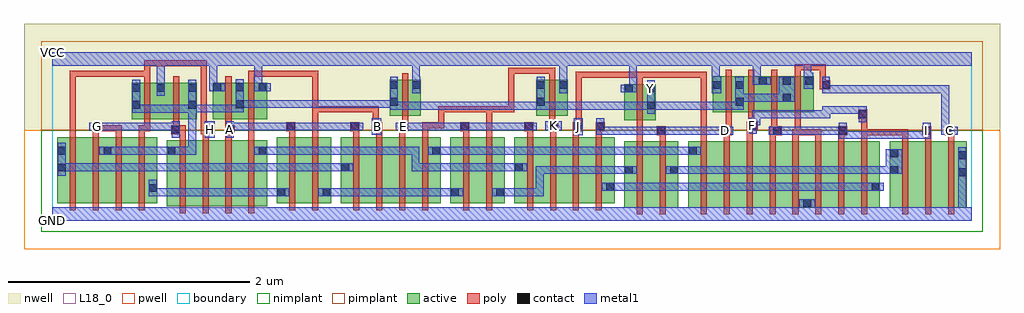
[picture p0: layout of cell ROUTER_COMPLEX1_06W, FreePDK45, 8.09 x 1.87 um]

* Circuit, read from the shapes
.subckt ROUTER_COMPLEX1_06W A B C D E F G GND H I J K VCC Y
M1 n1 H n2 VSUBS nfet w=0.55u l=0.05u
M2 Y G n1 VSUBS nfet w=0.55u l=0.05u
M3 n3 G Y VSUBS nfet w=0.55u l=0.05u
M4 n4 H n3 VSUBS nfet w=0.55u l=0.05u
M5 n5 G Y VSUBS nfet w=0.55u l=0.05u
M6 n6 H n5 VSUBS nfet w=0.55u l=0.05u
M7 n7 A n6 VSUBS nfet w=0.55u l=0.05u
M8 n8 B n7 VSUBS nfet w=0.55u l=0.05u
M9 n9 A n4 VSUBS nfet w=0.55u l=0.05u
M10 n10 B n9 VSUBS nfet w=0.55u l=0.05u
M11 n11 A n2 VSUBS nfet w=0.55u l=0.05u
M12 n12 B n11 VSUBS nfet w=0.55u l=0.05u
M13 n13 E n12 VSUBS nfet w=0.55u l=0.05u
M14 n14 K n13 VSUBS nfet w=0.55u l=0.05u
M15 n15 E n10 VSUBS nfet w=0.55u l=0.05u
M16 n16 K n15 VSUBS nfet w=0.55u l=0.05u
M17 n17 E n8 VSUBS nfet w=0.55u l=0.05u
M18 n18 K n17 VSUBS nfet w=0.55u l=0.05u
M19 n19 J n18 VSUBS nfet w=0.55u l=0.05u
M20 n20 D n19 VSUBS nfet w=0.55u l=0.05u
M21 n21 J n16 VSUBS nfet w=0.55u l=0.05u
M22 n22 D n21 VSUBS nfet w=0.55u l=0.05u
M23 n23 J n14 VSUBS nfet w=0.55u l=0.05u
M24 n24 D n23 VSUBS nfet w=0.55u l=0.05u
M25 n25 F n24 VSUBS nfet w=0.55u l=0.05u
M26 n26 I n25 VSUBS nfet w=0.55u l=0.05u
M27 GND C n26 VSUBS nfet w=0.55u l=0.05u
M28 n27 C GND VSUBS nfet w=0.55u l=0.05u
M29 n28 I n27 VSUBS nfet w=0.55u l=0.05u
M30 n20 F n28 VSUBS nfet w=0.55u l=0.05u
M31 n29 F n22 VSUBS nfet w=0.55u l=0.05u
M32 n30 I n29 VSUBS nfet w=0.55u l=0.05u
M33 GND C n30 VSUBS nfet w=0.55u l=0.05u
M34 VCC H Y n31 pfet w=0.3u l=0.05u
M35 Y G VCC n31 pfet w=0.3u l=0.05u
M36 Y A VCC n31 pfet w=0.3u l=0.05u
M37 VCC B Y n31 pfet w=0.3u l=0.05u
M38 VCC E Y n31 pfet w=0.3u l=0.05u
M39 VCC K Y n31 pfet w=0.3u l=0.05u
M40 Y J VCC n31 pfet w=0.3u l=0.05u
M41 Y D VCC n31 pfet w=0.3u l=0.05u
M42 VCC F Y n31 pfet w=0.3u l=0.05u
M43 Y I VCC n31 pfet w=0.3u l=0.05u
M44 VCC C Y n31 pfet w=0.3u l=0.05u
.ends

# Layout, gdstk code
import gdstk
lib = gdstk.Library(unit=1e-6, precision=1e-09)
def R(c, l, rs):  # rectangles x0, y0, x1, y1
    for r in rs: c.add(gdstk.rectangle(r[:2], r[2:], *l))
def A(c, l, x, y, w, h, nx, ny, dx, dy):  # array of equal rectangles
    R(c, l, [(x+i*dx, y+j*dy, x+i*dx+w, y+j*dy+h) for i in range(nx) for j in range(ny)])
active = (1, 0)
pwell = (2, 0)
nwell = (3, 0)
nimplant = (4, 0)
pimplant = (5, 0)
poly = (9, 0)
contact = (10, 0)
metal1 = (11, 0)
L18_0 = (18, 0)
boundary = (235, 0)

router_complex1_06w = lib.new_cell('ROUTER_COMPLEX1_06W')
A(router_complex1_06w, active, 5.495, 0.11, 0.19, 0.55, 3, 1, 0.19, 0)
R(router_complex1_06w, active, [(4.74,0.11,4.965,0.66), (4.965,0.11,5.19,0.66), (5.27,0.11,5.495,0.66), (6.065,0.11,6.295,0.66), (6.22,0.11,6.445,0.66), (6.22,0.11,6.295,0.527), (6.445,0.11,6.635,0.66), (6.635,0.11,6.86,0.66), (6.94,0.11,7.165,0.66), (7.165,0.11,7.355,0.66), (7.355,0.11,7.58,0.66), (7.505,0.11,7.58,0.66), (0.95,0.12,1.175,0.67), (1.175,0.12,1.365,0.67), (1.365,0.12,1.555,0.67), (1.555,0.12,1.78,0.67), (0.04,0.145,0.265,0.695), (0.04,0.145,0.145,0.695), (0.265,0.145,0.495,0.695), (0.42,0.145,0.645,0.695), (0.42,0.145,0.495,0.642), (0.645,0.145,0.87,0.695), (0.795,0.145,0.87,0.435), (0.95,0.145,1.055,0.67), (1.705,0.145,1.78,0.67), (1.86,0.145,2.085,0.695), (1.86,0.145,1.965,0.435), (2.085,0.145,2.31,0.695), (2.235,0.145,2.31,0.642), (2.39,0.145,2.615,0.695), (2.39,0.145,2.495,0.695), (2.615,0.145,2.805,0.695), (2.805,0.145,2.995,0.695), (2.995,0.145,3.22,0.695), (3.145,0.145,3.22,0.695), (3.3,0.145,3.525,0.695), (3.3,0.145,3.405,0.435), (3.525,0.145,3.75,0.695), (3.675,0.145,3.75,0.642), (3.83,0.145,4.055,0.695), (3.83,0.145,3.935,0.695), (4.055,0.145,4.245,0.695), (4.245,0.145,4.435,0.695), (4.435,0.145,4.66,0.695), (4.585,0.145,4.66,0.642), (4.74,0.145,4.845,0.66), (5.115,0.145,5.19,0.66), (5.27,0.145,5.375,0.66), (6.785,0.145,6.86,0.642), (6.94,0.145,7.045,0.66), (4.74,0.835,5,1.135), (4.925,0.835,5,1.135), (0.657,0.845,0.937,1.145), (0.657,0.845,0.732,1.142), (0.862,0.845,1.197,1.145), (1.122,0.845,1.197,1.145), (1.33,0.845,1.405,1.145), (1.33,0.845,1.59,1.145), (1.515,0.845,1.59,1.145), (1.515,0.845,1.78,1.145), (0.862,0.85,0.937,1.145), (1.705,0.85,1.78,1.145), (4.74,0.85,4.815,1.135), (2.795,0.87,2.87,1.17), (2.795,0.87,3.055,1.17), (4.012,0.87,4.272,1.17), (4.012,0.87,4.087,1.165), (4.197,0.87,4.272,1.17), (5.475,0.9,5.735,1.2), (5.66,0.9,5.925,1.2), (5.85,0.9,6.125,1.2), (6.05,0.9,6.31,1.2), (6.235,0.9,6.31,1.2), (5.66,0.95,5.735,1.165), (2.98,0.952,3.055,1.17), (5.475,0.952,5.55,1.2), (6.05,0.952,6.125,1.2), (5.85,1.007,5.925,1.197)])
R(router_complex1_06w, pwell, [(-0.235,-0.235,7.855,0.75)])
R(router_complex1_06w, nwell, [(-0.235,0.75,7.855,1.635)])
R(router_complex1_06w, nimplant, [(-0.09,-0.09,7.71,0.75)])
R(router_complex1_06w, pimplant, [(-0.09,0.75,7.71,1.49)])
A(router_complex1_06w, poly, 5.375, 0.055, 0.05, 0.66, 8, 1, 0.19, 0)
A(router_complex1_06w, poly, 7.045, 0.055, 0.05, 0.66, 3, 1, 0.19, 0)
A(router_complex1_06w, poly, 1.055, 0.065, 0.05, 0.66, 4, 1, 0.19, 0)
A(router_complex1_06w, poly, 0.145, 0.09, 0.05, 0.66, 4, 1, 0.19, 0)
A(router_complex1_06w, poly, 2.495, 0.09, 0.05, 0.66, 4, 1, 0.19, 0)
A(router_complex1_06w, poly, 3.935, 0.09, 0.05, 0.66, 4, 1, 0.19, 0)
A(router_complex1_06w, poly, 5.945, 0.665, 0.05, 0.095, 5, 1, 0.19, 0)
A(router_complex1_06w, poly, 7.045, 0.665, 0.05, 0.095, 3, 1, 0.19, 0)
A(router_complex1_06w, poly, 1.055, 0.675, 0.05, 0.095, 3, 1, 0.19, 0)
A(router_complex1_06w, poly, 0.335, 0.7, 0.05, 0.095, 3, 1, 0.19, 0)
A(router_complex1_06w, poly, 2.495, 0.7, 0.05, 0.095, 3, 1, 0.19, 0)
A(router_complex1_06w, poly, 3.935, 0.7, 0.05, 0.095, 4, 1, 0.19, 0)
A(router_complex1_06w, poly, 5.58, 0.845, 0.05, 0.41, 3, 1, 0.19, 0)
R(router_complex1_06w, poly, [(4.845,0.055,4.895,0.715), (5.035,0.055,5.085,0.715), (1.965,0.09,2.015,0.75), (2.155,0.09,2.205,0.75), (3.405,0.09,3.455,0.75), (3.595,0.09,3.645,0.75), (4.845,0.665,4.895,0.76), (5.035,0.665,5.085,0.76), (5.375,0.665,5.425,1.235), (5.565,0.665,5.615,0.762), (5.755,0.665,5.805,0.802), (1.625,0.675,1.675,0.795), (0.145,0.7,0.195,1.245), (1.965,0.7,2.015,0.795), (2.155,0.7,2.205,0.952), (3.065,0.7,3.115,0.82), (3.405,0.7,3.455,0.795), (3.595,0.7,3.645,0.952), (4.845,0.71,4.895,0.76), (4.845,0.71,4.895,0.83), (5.01,0.71,5.085,0.785), (5.945,0.71,6.045,0.785), (6.135,0.71,6.205,0.76), (6.155,0.71,6.205,0.76), (6.155,0.71,6.205,0.76), (6.155,0.71,6.205,0.895), (6.155,0.71,6.375,0.76), (6.325,0.71,6.375,0.76), (6.515,0.71,6.59,0.785), (6.705,0.71,6.755,0.76), (6.705,0.71,6.755,0.76), (6.705,0.71,6.755,0.76), (6.705,0.71,7.095,0.76), (6.705,0.71,6.755,0.897), (7.045,0.71,7.095,0.76), (7.045,0.71,7.095,0.76), (7.045,0.71,7.095,0.76), (7.21,0.71,7.285,0.785), (7.4,0.71,7.475,0.785), (5.54,0.712,5.63,0.787), (0.985,0.72,1.105,0.795), (1.23,0.72,1.335,0.795), (1.435,0.72,1.51,0.795), (5.96,0.735,6.01,0.895), (5.58,0.737,5.63,0.895), (0.335,0.745,0.41,0.82), (0.36,0.745,0.547,0.795), (0.497,0.745,0.547,0.795), (0.497,0.745,0.575,0.795), (0.525,0.745,0.575,0.795), (0.715,0.745,0.812,0.795), (0.762,0.745,0.812,0.84), (1.002,0.745,1.052,0.84), (1.23,0.745,1.28,1.332), (1.435,0.745,1.485,0.84), (1.625,0.745,1.675,0.84), (1.625,0.745,1.675,0.795), (1.94,0.745,2.015,0.82), (2.47,0.745,2.545,0.82), (2.655,0.745,2.735,0.82), (2.875,0.745,2.95,0.82), (3.38,0.745,3.455,0.82), (3.91,0.745,3.985,0.82), (4.117,0.745,4.192,0.82), (4.315,0.745,4.39,0.82), (4.505,0.745,4.58,0.82), (5.755,0.752,5.845,0.827), (2.655,0.77,2.705,0.952), (2.9,0.77,2.95,0.865), (3.065,0.77,3.115,0.82), (3.065,0.77,3.115,0.82), (3.065,0.77,3.115,0.82), (3.065,0.77,3.115,0.82), (3.065,0.77,3.115,0.82), (3.065,0.77,3.247,0.82), (3.197,0.77,3.247,0.952), (4.117,0.77,4.167,0.865), (4.34,0.77,4.39,0.82), (4.34,0.77,4.39,0.82), (4.34,0.77,4.39,1.235), (5.77,0.777,5.82,0.895), (4.845,0.78,4.895,1.19), (0.762,0.79,0.812,1.2), (1.002,0.79,1.052,1.2), (1.435,0.79,1.485,1.2), (1.625,0.79,1.675,1.245), (2.9,0.815,2.95,1.225), (4.117,0.815,4.167,1.225), (6.155,0.845,6.205,1.255), (6.68,0.847,6.755,0.922), (6.705,0.847,6.755,0.897), (6.705,0.847,6.755,0.897), (2.155,0.902,2.205,0.952), (2.155,0.902,2.205,0.952), (2.155,0.902,2.205,0.952), (2.155,0.902,2.205,0.952), (2.155,0.902,2.205,0.952), (2.155,0.902,2.205,0.952), (2.155,0.902,2.205,0.952), (2.155,0.902,2.387,0.952), (2.155,0.902,2.205,1.245), (2.337,0.902,2.387,0.952), (2.337,0.902,2.572,0.952), (2.522,0.902,2.572,0.952), (2.522,0.902,2.572,0.952), (2.522,0.902,2.572,0.952), (2.522,0.902,2.705,0.952), (2.655,0.902,2.705,0.952), (2.655,0.902,2.705,0.952), (2.655,0.902,2.705,0.952), (2.655,0.902,2.705,0.952), (2.655,0.902,2.705,0.952), (3.197,0.902,3.247,0.952), (3.197,0.902,3.247,0.952), (3.197,0.902,3.512,0.952), (3.462,0.902,3.512,0.952), (3.462,0.902,3.645,0.952), (3.595,0.902,3.645,0.952), (3.595,0.902,3.645,0.952), (3.595,0.902,3.645,0.952), (3.595,0.902,3.645,0.952), (3.595,0.902,3.645,0.952), (3.595,0.902,3.645,0.952), (3.595,0.902,3.645,0.952), (3.595,0.902,3.645,0.952), (3.595,0.902,3.645,0.952), (3.595,0.902,3.827,0.952), (3.777,0.902,3.827,0.952), (3.777,0.902,3.827,1.27), (6.36,1.09,6.45,1.165), (6.36,1.115,6.41,1.3), (4.845,1.14,4.895,1.235), (0.762,1.15,0.812,1.245), (4.117,1.175,4.167,1.27), (4.34,1.185,4.39,1.235), (4.34,1.185,4.39,1.235), (4.34,1.185,4.39,1.235), (4.34,1.185,4.39,1.235), (4.34,1.185,4.39,1.235), (4.34,1.185,4.39,1.235), (4.34,1.185,4.39,1.235), (4.34,1.185,4.63,1.235), (4.58,1.185,4.63,1.235), (4.58,1.185,4.762,1.235), (4.712,1.185,4.762,1.235), (4.712,1.185,4.762,1.235), (4.712,1.185,4.762,1.235), (4.712,1.185,4.895,1.235), (4.845,1.185,4.895,1.235), (4.845,1.185,4.895,1.235), (4.845,1.185,4.895,1.235), (4.845,1.185,5.157,1.235), (5.107,1.185,5.157,1.235), (5.107,1.185,5.157,1.235), (5.107,1.185,5.157,1.235), (5.107,1.185,5.29,1.235), (5.24,1.185,5.29,1.235), (5.24,1.185,5.29,1.235), (5.24,1.185,5.29,1.235), (5.24,1.185,5.29,1.235), (5.24,1.185,5.29,1.235), (5.24,1.185,5.41,1.235), (5.36,1.185,5.41,1.235), (5.36,1.185,5.41,1.235), (5.36,1.185,5.41,1.235), (5.36,1.185,5.41,1.235), (5.36,1.185,5.425,1.235), (0.145,1.195,0.195,1.245), (0.145,1.195,0.195,1.245), (0.145,1.195,0.195,1.245), (0.145,1.195,0.195,1.245), (0.145,1.195,0.195,1.245), (0.145,1.195,0.195,1.245), (0.145,1.195,0.195,1.245), (0.145,1.195,0.195,1.245), (0.145,1.195,0.195,1.245), (0.145,1.195,0.195,1.245), (0.145,1.195,0.195,1.245), (0.145,1.195,0.327,1.245), (0.277,1.195,0.327,1.245), (0.277,1.195,0.547,1.245), (0.497,1.195,0.547,1.245), (0.497,1.195,0.547,1.245), (0.497,1.195,0.547,1.245), (0.497,1.195,0.68,1.245), (0.63,1.195,0.68,1.245), (0.63,1.195,0.812,1.245), (0.762,1.195,0.812,1.245), (0.762,1.195,0.812,1.245), (0.762,1.195,0.812,1.332), (1.625,1.195,1.675,1.245), (1.625,1.195,1.675,1.245), (1.625,1.195,1.675,1.245), (1.625,1.195,1.675,1.245), (1.625,1.195,1.675,1.245), (1.625,1.195,1.675,1.245), (1.625,1.195,1.675,1.245), (1.625,1.195,2.072,1.245), (2.022,1.195,2.072,1.245), (2.022,1.195,2.072,1.245), (2.022,1.195,2.072,1.245), (2.022,1.195,2.205,1.245), (2.155,1.195,2.205,1.245), (6.155,1.205,6.205,1.3), (3.777,1.22,3.827,1.27), (3.777,1.22,3.827,1.27), (3.777,1.22,3.827,1.27), (3.777,1.22,4.035,1.27), (3.985,1.22,4.035,1.27), (3.985,1.22,4.035,1.27), (3.985,1.22,4.035,1.27), (3.985,1.22,4.167,1.27), (4.117,1.22,4.167,1.27), (6.155,1.25,6.205,1.3), (6.155,1.25,6.205,1.3), (6.155,1.25,6.205,1.3), (6.155,1.25,6.41,1.3), (6.36,1.25,6.41,1.3), (0.762,1.282,1.147,1.332), (1.097,1.282,1.147,1.332), (1.097,1.282,1.147,1.332), (1.097,1.282,1.147,1.332), (1.097,1.282,1.28,1.332), (1.23,1.282,1.28,1.332), (1.23,1.282,1.28,1.332), (1.23,1.282,1.28,1.332), (1.23,1.282,1.28,1.332), (1.23,1.282,1.28,1.332), (1.23,1.282,1.28,1.332), (1.23,1.282,1.28,1.332), (1.23,1.282,1.28,1.332), (1.23,1.282,1.28,1.332)])
R(router_complex1_06w, contact, [(6.225,0.115,6.29,0.18), (1.865,0.205,1.93,0.27), (2.24,0.205,2.305,0.27), (3.305,0.205,3.37,0.27), (3.68,0.205,3.745,0.27), (0.8,0.24,0.865,0.305), (4.59,0.252,4.655,0.317), (6.79,0.252,6.855,0.317), (7.51,0.372,7.575,0.437), (4.745,0.39,4.81,0.455), (5.12,0.39,5.185,0.455), (6.945,0.39,7.01,0.455), (0.045,0.41,0.11,0.475), (2.395,0.412,2.46,0.477), (3.835,0.412,3.9,0.477), (7.51,0.512,7.575,0.577), (6.945,0.53,7.01,0.595), (0.045,0.55,0.11,0.615), (0.425,0.55,0.49,0.615), (0.955,0.55,1.02,0.615), (1.71,0.55,1.775,0.615), (3.15,0.55,3.215,0.615), (5.275,0.55,5.34,0.615), (5.015,0.715,5.08,0.78), (5.975,0.715,6.04,0.78), (6.52,0.715,6.585,0.78), (7.215,0.715,7.28,0.78), (7.405,0.715,7.47,0.78), (5.545,0.717,5.61,0.782), (0.99,0.725,1.055,0.79), (1.265,0.725,1.33,0.79), (1.44,0.725,1.505,0.79), (0.34,0.75,0.405,0.815), (1.945,0.75,2.01,0.815), (2.475,0.75,2.54,0.815), (2.66,0.75,2.725,0.815), (2.88,0.75,2.945,0.815), (3.385,0.75,3.45,0.815), (3.915,0.75,3.98,0.815), (4.122,0.75,4.187,0.815), (4.32,0.75,4.385,0.815), (4.51,0.75,4.575,0.815), (5.775,0.757,5.84,0.822), (6.685,0.852,6.75,0.917), (4.93,0.925,4.995,0.99), (0.662,0.932,0.727,0.997), (1.127,0.932,1.192,0.997), (1.52,0.935,1.585,1), (2.8,0.955,2.865,1.02), (4.017,0.955,4.082,1.02), (5.665,0.955,5.73,1.02), (6.055,0.99,6.12,1.055), (4.745,1.065,4.81,1.13), (4.93,1.065,4.995,1.13), (0.662,1.072,0.727,1.137), (0.867,1.072,0.932,1.137), (1.127,1.072,1.192,1.137), (1.335,1.075,1.4,1.14), (1.52,1.075,1.585,1.14), (1.71,1.075,1.775,1.14), (2.8,1.095,2.865,1.16), (2.985,1.095,3.05,1.16), (4.017,1.095,4.082,1.16), (4.202,1.095,4.267,1.16), (5.48,1.095,5.545,1.16), (5.665,1.095,5.73,1.16), (6.38,1.095,6.445,1.16), (5.855,1.127,5.92,1.192), (6.055,1.13,6.12,1.195), (6.24,1.13,6.305,1.195)])
R(router_complex1_06w, metal1, [(0,0,7.62,0.115), (6.26,0.05,6.325,0.18), (7.51,0.05,7.575,0.402), (6.19,0.115,6.325,0.18), (0.8,0.205,0.865,0.34), (0.8,0.205,1.002,0.27), (0.937,0.205,1.002,0.27), (0.937,0.205,1.002,0.27), (0.937,0.205,1.002,0.27), (0.937,0.205,1.192,0.27), (1.127,0.205,1.192,0.27), (1.127,0.205,1.365,0.27), (1.3,0.205,1.365,0.27), (1.3,0.205,1.365,0.27), (1.3,0.205,1.365,0.27), (1.3,0.205,1.502,0.27), (1.437,0.205,1.502,0.27), (1.437,0.205,1.502,0.27), (1.437,0.205,1.502,0.27), (1.437,0.205,1.722,0.27), (1.657,0.205,1.722,0.27), (1.657,0.205,1.722,0.27), (1.657,0.205,1.722,0.27), (1.657,0.205,1.895,0.27), (1.83,0.205,1.965,0.27), (2.205,0.205,2.34,0.27), (2.275,0.205,2.505,0.27), (2.44,0.205,2.505,0.27), (2.44,0.205,2.505,0.27), (2.44,0.205,2.505,0.27), (2.44,0.205,2.67,0.27), (2.605,0.205,2.67,0.27), (2.605,0.205,2.67,0.27), (2.605,0.205,2.67,0.27), (2.605,0.205,2.807,0.27), (2.742,0.205,2.807,0.27), (2.742,0.205,3.042,0.27), (2.977,0.205,3.042,0.27), (2.977,0.205,3.042,0.27), (2.977,0.205,3.042,0.27), (2.977,0.205,3.18,0.27), (3.115,0.205,3.18,0.27), (3.115,0.205,3.18,0.27), (3.115,0.205,3.18,0.27), (3.115,0.205,3.335,0.27), (3.27,0.205,3.405,0.27), (3.645,0.205,3.78,0.27), (3.715,0.205,3.78,0.27), (3.715,0.205,3.78,0.27), (3.715,0.205,3.917,0.27), (3.852,0.205,3.917,0.27), (3.852,0.205,4.072,0.27), (4.007,0.205,4.072,0.27), (4.007,0.205,4.072,0.455), (4.555,0.252,4.69,0.317), (4.625,0.252,4.857,0.317), (4.792,0.252,4.857,0.317), (4.792,0.252,4.857,0.317), (4.792,0.252,4.857,0.317), (4.792,0.252,4.995,0.317), (4.93,0.252,4.995,0.317), (4.93,0.252,4.995,0.317), (4.93,0.252,4.995,0.317), (4.93,0.252,5.27,0.317), (5.205,0.252,5.27,0.317), (5.205,0.252,5.27,0.317), (5.205,0.252,5.27,0.317), (5.205,0.252,5.437,0.317), (5.372,0.252,5.437,0.317), (5.372,0.252,5.437,0.317), (5.372,0.252,5.437,0.317), (5.372,0.252,5.577,0.317), (5.512,0.252,5.577,0.317), (5.512,0.252,5.577,0.317), (5.512,0.252,5.577,0.317), (5.512,0.252,5.867,0.317), (5.802,0.252,5.867,0.317), (5.802,0.252,5.867,0.317), (5.802,0.252,5.867,0.317), (5.802,0.252,6.07,0.317), (6.005,0.252,6.07,0.317), (6.005,0.252,6.07,0.317), (6.005,0.252,6.07,0.317), (6.005,0.252,6.222,0.317), (6.157,0.252,6.222,0.317), (6.157,0.252,6.222,0.317), (6.157,0.252,6.222,0.317), (6.157,0.252,6.447,0.317), (6.382,0.252,6.447,0.317), (6.382,0.252,6.447,0.317), (6.382,0.252,6.447,0.317), (6.382,0.252,6.585,0.317), (6.52,0.252,6.585,0.317), (6.52,0.252,6.585,0.317), (6.52,0.252,6.585,0.317), (6.52,0.252,6.82,0.317), (6.755,0.252,6.82,0.317), (6.755,0.252,6.82,0.317), (6.755,0.252,6.89,0.317), (7.51,0.337,7.575,0.612), (0.045,0.375,0.11,0.65), (4.007,0.39,4.072,0.455), (4.007,0.39,4.072,0.455), (4.007,0.39,4.072,0.455), (4.007,0.39,4.26,0.455), (4.195,0.39,4.26,0.455), (4.195,0.39,4.26,0.455), (4.195,0.39,4.26,0.455), (4.195,0.39,4.437,0.455), (4.372,0.39,4.437,0.455), (4.372,0.39,4.575,0.455), (4.51,0.39,4.575,0.455), (4.51,0.39,4.575,0.455), (4.51,0.39,4.575,0.455), (4.51,0.39,4.775,0.455), (4.71,0.39,4.845,0.455), (5.085,0.39,5.22,0.455), (5.155,0.39,5.27,0.455), (5.205,0.39,5.27,0.455), (5.205,0.39,5.437,0.455), (5.372,0.39,5.437,0.455), (5.372,0.39,5.437,0.455), (5.372,0.39,5.437,0.455), (5.372,0.39,5.575,0.455), (5.51,0.39,5.575,0.455), (5.51,0.39,5.575,0.455), (5.51,0.39,5.575,0.455), (5.51,0.39,5.867,0.455), (5.802,0.39,5.867,0.455), (5.802,0.39,5.867,0.455), (5.802,0.39,5.867,0.455), (5.802,0.39,6.07,0.455), (6.005,0.39,6.07,0.455), (6.005,0.39,6.07,0.455), (6.005,0.39,6.07,0.455), (6.005,0.39,6.292,0.455), (6.227,0.39,6.292,0.455), (6.227,0.39,6.292,0.455), (6.227,0.39,6.292,0.455), (6.227,0.39,6.447,0.455), (6.382,0.39,6.447,0.455), (6.382,0.39,6.447,0.455), (6.382,0.39,6.447,0.455), (6.382,0.39,6.585,0.455), (6.52,0.39,6.585,0.455), (6.52,0.39,6.585,0.455), (6.52,0.39,6.585,0.455), (6.52,0.39,6.837,0.455), (6.772,0.39,6.837,0.455), (6.772,0.39,6.837,0.455), (6.772,0.39,6.837,0.455), (6.772,0.39,6.975,0.455), (6.91,0.39,7.045,0.595), (0.045,0.412,0.11,0.477), (0.045,0.412,0.11,0.477), (0.045,0.412,0.302,0.477), (0.237,0.412,0.302,0.477), (0.237,0.412,0.302,0.477), (0.237,0.412,0.302,0.477), (0.237,0.412,0.577,0.477), (0.512,0.412,0.577,0.477), (0.512,0.412,0.577,0.477), (0.512,0.412,0.577,0.477), (0.512,0.412,0.727,0.477), (0.662,0.412,0.727,0.477), (0.662,0.412,0.727,0.477), (0.662,0.412,0.727,0.477), (0.662,0.412,0.865,0.477), (0.8,0.412,0.865,0.477), (0.8,0.412,0.865,0.477), (0.8,0.412,0.865,0.477), (0.8,0.412,1.192,0.477), (1.127,0.412,1.192,0.477), (1.127,0.412,1.192,0.477), (1.127,0.412,1.192,0.477), (1.127,0.412,1.365,0.477), (1.3,0.412,1.365,0.477), (1.3,0.412,1.365,0.477), (1.3,0.412,1.365,0.477), (1.3,0.412,1.502,0.477), (1.437,0.412,1.502,0.477), (1.437,0.412,1.502,0.477), (1.437,0.412,1.502,0.477), (1.437,0.412,1.722,0.477), (1.657,0.412,1.722,0.477), (1.657,0.412,1.722,0.477), (1.657,0.412,1.722,0.477), (1.657,0.412,1.975,0.477), (1.91,0.412,1.975,0.477), (1.91,0.412,2.112,0.477), (2.047,0.412,2.112,0.477), (2.047,0.412,2.112,0.477), (2.047,0.412,2.112,0.477), (2.047,0.412,2.287,0.477), (2.222,0.412,2.287,0.477), (2.222,0.412,2.287,0.477), (2.222,0.412,2.287,0.477), (2.222,0.412,2.425,0.477), (2.36,0.412,2.495,0.477), (2.977,0.412,3.18,0.477), (2.977,0.412,3.042,0.615), (3.115,0.412,3.18,0.477), (3.115,0.412,3.18,0.477), (3.115,0.412,3.18,0.477), (3.115,0.412,3.317,0.477), (3.252,0.412,3.317,0.477), (3.252,0.412,3.485,0.477), (3.42,0.412,3.485,0.477), (3.42,0.412,3.485,0.477), (3.42,0.412,3.485,0.477), (3.42,0.412,3.622,0.477), (3.557,0.412,3.622,0.477), (3.557,0.412,3.622,0.477), (3.557,0.412,3.622,0.477), (3.557,0.412,3.865,0.477), (3.8,0.412,3.935,0.477), (0.39,0.55,0.525,0.615), (0.46,0.55,0.59,0.615), (0.525,0.55,0.59,0.615), (0.525,0.55,0.727,0.615), (0.662,0.55,0.727,0.615), (0.662,0.55,0.727,0.615), (0.662,0.55,0.727,0.615), (0.662,0.55,0.865,0.615), (0.8,0.55,0.865,0.615), (0.8,0.55,0.985,0.615), (0.92,0.55,1.055,0.615), (0.99,0.55,1.055,0.615), (0.99,0.55,1.055,0.615), (0.99,0.55,1.192,0.615), (1.127,0.55,1.192,0.615), (1.127,0.55,1.192,0.615), (1.127,0.55,1.192,0.615), (1.127,0.55,1.192,0.962), (1.675,0.55,1.81,0.615), (1.745,0.55,1.947,0.615), (1.882,0.55,1.947,0.615), (1.882,0.55,1.947,0.615), (1.882,0.55,1.947,0.615), (1.882,0.55,2.112,0.615), (2.047,0.55,2.112,0.615), (2.047,0.55,2.25,0.615), (2.185,0.55,2.25,0.615), (2.185,0.55,2.25,0.615), (2.185,0.55,2.25,0.615), (2.185,0.55,2.477,0.615), (2.412,0.55,2.477,0.615), (2.412,0.55,2.477,0.615), (2.412,0.55,2.477,0.615), (2.412,0.55,2.477,0.615), (2.412,0.55,2.477,0.615), (2.412,0.55,2.642,0.615), (2.577,0.55,2.642,0.615), (2.577,0.55,2.642,0.615), (2.577,0.55,2.642,0.615), (2.577,0.55,2.807,0.615), (2.742,0.55,2.807,0.615), (2.742,0.55,3.042,0.615), (2.977,0.55,3.042,0.615), (2.977,0.55,3.042,0.615), (3.115,0.55,3.25,0.615), (3.185,0.55,3.317,0.615), (3.252,0.55,3.317,0.615), (3.252,0.55,3.455,0.615), (3.39,0.55,3.455,0.615), (3.39,0.55,3.455,0.615), (3.39,0.55,3.455,0.615), (3.39,0.55,3.642,0.615), (3.577,0.55,3.642,0.615), (3.577,0.55,3.642,0.615), (3.577,0.55,3.642,0.615), (3.577,0.55,3.917,0.615), (3.852,0.55,3.917,0.615), (3.852,0.55,3.917,0.615), (3.852,0.55,3.917,0.615), (3.852,0.55,4.072,0.615), (4.007,0.55,4.072,0.615), (4.007,0.55,4.072,0.615), (4.007,0.55,4.072,0.615), (4.007,0.55,4.3,0.615), (4.235,0.55,4.3,0.615), (4.235,0.55,4.3,0.615), (4.235,0.55,4.3,0.615), (4.235,0.55,4.437,0.615), (4.372,0.55,4.437,0.615), (4.372,0.55,4.575,0.615), (4.51,0.55,4.575,0.615), (4.51,0.55,4.575,0.615), (4.51,0.55,4.575,0.615), (4.51,0.55,4.827,0.615), (4.762,0.55,4.827,0.615), (4.762,0.55,4.827,0.615), (4.762,0.55,4.827,0.615), (4.762,0.55,4.995,0.615), (4.93,0.55,4.995,0.615), (4.93,0.55,5.132,0.615), (5.067,0.55,5.132,0.615), (5.067,0.55,5.132,0.615), (5.067,0.55,5.132,0.615), (5.067,0.55,5.305,0.615), (5.24,0.55,5.375,0.615), (6.52,0.68,6.585,0.745), (6.52,0.68,6.585,0.745), (6.52,0.68,6.585,0.815), (6.52,0.68,6.837,0.745), (6.772,0.68,6.837,0.745), (6.772,0.68,6.837,0.745), (6.772,0.68,6.837,0.745), (6.772,0.68,7.112,0.745), (7.047,0.68,7.112,0.745), (7.047,0.68,7.112,0.745), (7.047,0.68,7.112,0.745), (7.047,0.68,7.28,0.745), (7.215,0.68,7.28,0.745), (7.215,0.68,7.28,0.745), (7.215,0.68,7.28,0.815), (0.99,0.69,1.055,0.825), (1.265,0.69,1.345,0.825), (1.44,0.69,1.505,0.825), (4.32,0.712,4.397,0.85), (2.647,0.715,2.727,0.85), (4.51,0.715,4.575,0.78), (4.51,0.715,4.575,0.78), (4.51,0.715,4.575,0.85), (4.51,0.715,4.857,0.78), (4.792,0.715,4.857,0.78), (4.792,0.715,4.857,0.78), (4.792,0.715,4.857,0.78), (4.792,0.715,4.995,0.78), (4.93,0.715,4.995,0.78), (4.93,0.715,5.045,0.78), (4.98,0.715,5.115,0.78), (5.05,0.715,5.27,0.78), (5.205,0.715,5.27,0.78), (5.205,0.715,5.27,0.78), (5.205,0.715,5.27,0.78), (5.205,0.715,5.407,0.78), (5.342,0.715,5.407,0.78), (5.342,0.715,5.407,0.78), (5.342,0.715,5.407,0.78), (5.342,0.715,5.575,0.78), (5.51,0.715,5.645,0.782), (5.94,0.715,6.075,0.78), (6.01,0.715,6.075,0.78), (6.01,0.715,6.075,0.78), (6.01,0.715,6.292,0.78), (6.227,0.715,6.292,0.78), (6.227,0.715,6.292,0.78), (6.227,0.715,6.292,0.78), (6.227,0.715,6.447,0.78), (6.382,0.715,6.447,0.78), (6.382,0.715,6.447,0.78), (6.382,0.715,6.447,0.78), (6.382,0.715,6.585,0.78), (7.37,0.715,7.435,0.78), (7.37,0.715,7.435,0.78), (7.37,0.715,7.505,0.78), (7.37,0.715,7.435,1.125), (5.775,0.722,5.84,0.857), (0.305,0.75,0.44,0.815), (0.375,0.75,0.44,0.815), (0.375,0.75,0.44,0.815), (0.375,0.75,0.577,0.815), (0.512,0.75,0.577,0.815), (0.512,0.75,0.727,0.815), (0.662,0.75,0.727,0.815), (0.662,0.75,0.727,0.815), (0.662,0.75,0.727,0.815), (0.662,0.75,0.865,0.815), (0.8,0.75,0.865,0.815), (0.8,0.75,1.055,0.815), (0.99,0.75,1.055,0.815), (0.99,0.75,1.055,0.815), (1.44,0.75,1.505,0.815), (1.44,0.75,1.505,0.815), (1.44,0.75,1.722,0.815), (1.657,0.75,1.722,0.815), (1.657,0.75,1.722,0.815), (1.657,0.75,1.722,0.815), (1.657,0.75,1.975,0.815), (1.91,0.75,1.975,0.815), (1.91,0.75,1.975,0.815), (1.91,0.75,2.045,0.815), (1.98,0.75,2.112,0.815), (2.047,0.75,2.112,0.815), (2.047,0.75,2.287,0.815), (2.222,0.75,2.287,0.815), (2.222,0.75,2.287,0.815), (2.222,0.75,2.287,0.815), (2.222,0.75,2.505,0.815), (2.44,0.75,2.505,0.815), (2.44,0.75,2.505,0.815), (2.44,0.75,2.575,0.815), (2.845,0.75,2.98,0.815), (2.915,0.75,3.042,0.815), (2.977,0.75,3.042,0.815), (2.977,0.75,3.18,0.815), (3.115,0.75,3.18,0.815), (3.115,0.75,3.18,0.815), (3.115,0.75,3.18,0.815), (3.115,0.75,3.317,0.815), (3.252,0.75,3.317,0.815), (3.252,0.75,3.415,0.815), (3.35,0.75,3.485,0.815), (3.42,0.75,3.485,0.815), (3.42,0.75,3.485,0.815), (3.42,0.75,3.642,0.815), (3.577,0.75,3.642,0.815), (3.577,0.75,3.642,0.815), (3.577,0.75,3.642,0.815), (3.577,0.75,3.78,0.815), (3.715,0.75,3.78,0.815), (3.715,0.75,3.945,0.815), (3.88,0.75,4.015,0.815), (4.087,0.75,4.222,0.827), (5.775,0.792,5.867,0.857), (5.802,0.792,5.867,0.857), (5.802,0.792,5.867,0.917), (6.685,0.817,6.75,0.952), (5.802,0.852,5.867,0.917), (5.802,0.852,6.07,0.917), (6.005,0.852,6.07,0.917), (6.005,0.852,6.07,0.917), (6.005,0.852,6.07,0.917), (6.005,0.852,6.292,0.917), (6.227,0.852,6.292,0.917), (6.227,0.852,6.292,0.917), (6.227,0.852,6.292,0.917), (6.227,0.852,6.447,0.917), (6.382,0.852,6.447,0.917), (6.382,0.852,6.447,0.917), (6.382,0.852,6.447,0.952), (6.382,0.887,6.585,0.952), (6.52,0.887,6.585,0.952), (6.52,0.887,6.585,0.952), (6.52,0.887,6.585,0.952), (6.52,0.887,6.585,0.952), (6.52,0.887,6.585,0.952), (6.52,0.887,6.75,0.952), (4.93,0.89,4.995,1.165), (4.93,0.89,4.995,0.987), (0.662,0.897,0.727,1.172), (0.662,0.897,0.727,0.962), (0.662,0.897,0.727,0.962), (0.662,0.897,0.865,0.962), (0.8,0.897,0.865,0.962), (0.8,0.897,0.865,0.962), (0.8,0.897,0.865,0.962), (0.8,0.897,1.07,0.962), (1.005,0.897,1.07,0.962), (1.005,0.897,1.192,0.962), (1.127,0.897,1.192,1.172), (1.127,0.897,1.192,0.962), (1.127,0.897,1.192,0.962), (1.127,0.9,1.365,0.965), (1.3,0.9,1.365,0.965), (1.3,0.9,1.365,0.965), (1.3,0.9,1.365,0.965), (1.3,0.9,1.585,0.965), (1.52,0.9,1.585,1.175), (1.52,0.9,1.585,0.965), (1.52,0.9,1.585,0.965), (4.93,0.905,4.995,0.97), (2.8,0.92,2.865,1.195), (4.017,0.92,4.082,1.195), (5.66,0.92,5.73,1.195), (2.8,0.922,2.865,0.987), (2.8,0.922,2.865,0.987), (2.8,0.922,3.042,0.987), (2.977,0.922,3.042,0.987), (2.977,0.922,3.18,0.987), (3.115,0.922,3.18,0.987), (3.115,0.922,3.18,0.987), (3.115,0.922,3.18,0.987), (3.115,0.922,3.317,0.987), (3.252,0.922,3.317,0.987), (3.252,0.922,3.485,0.987), (3.42,0.922,3.485,0.987), (3.42,0.922,3.485,0.987), (3.42,0.922,3.485,0.987), (3.42,0.922,3.642,0.987), (3.577,0.922,3.642,0.987), (3.577,0.922,3.642,0.987), (3.577,0.922,3.642,0.987), (3.577,0.922,3.917,0.987), (3.852,0.922,3.917,0.987), (3.852,0.922,3.917,0.987), (3.852,0.922,3.917,0.987), (3.852,0.922,4.082,0.987), (4.017,0.922,4.082,0.987), (4.017,0.922,4.082,0.987), (4.017,0.922,4.3,0.987), (4.235,0.922,4.3,0.987), (4.235,0.922,4.3,0.987), (4.235,0.922,4.3,0.987), (4.235,0.922,4.437,0.987), (4.372,0.922,4.437,0.987), (4.372,0.922,4.437,0.987), (4.372,0.922,4.437,0.987), (4.372,0.922,4.69,0.987), (4.625,0.922,4.69,0.987), (4.625,0.922,4.827,0.987), (4.762,0.922,4.827,0.987), (4.762,0.922,4.827,0.987), (4.762,0.922,4.827,0.987), (4.762,0.922,4.995,0.987), (4.93,0.922,4.995,0.987), (4.93,0.922,4.995,0.987), (4.93,0.922,5.27,0.987), (5.205,0.922,5.27,0.987), (5.205,0.922,5.27,0.987), (5.205,0.922,5.27,0.987), (5.205,0.922,5.27,0.987), (5.205,0.922,5.27,0.987), (5.205,0.922,5.437,0.987), (5.372,0.922,5.437,0.987), (5.372,0.922,5.437,0.987), (5.372,0.922,5.437,0.987), (5.372,0.922,5.577,0.987), (5.512,0.922,5.577,0.987), (5.512,0.922,5.725,0.987), (1.52,0.937,1.722,1.002), (1.657,0.937,1.722,1.002), (1.657,0.937,1.722,1.002), (1.657,0.937,1.722,1.002), (1.657,0.937,1.947,1.002), (1.882,0.937,1.947,1.002), (1.882,0.937,1.947,1.002), (1.882,0.937,1.947,1.002), (1.882,0.937,2.112,1.002), (2.047,0.937,2.112,1.002), (2.047,0.937,2.287,1.002), (2.222,0.937,2.287,1.002), (2.222,0.937,2.287,1.002), (2.222,0.937,2.287,1.002), (2.222,0.937,2.505,1.002), (2.44,0.937,2.505,1.002), (2.44,0.937,2.505,1.002), (2.44,0.937,2.505,1.002), (2.44,0.937,2.67,1.002), (2.605,0.937,2.67,1.002), (2.605,0.937,2.67,1.002), (2.605,0.937,2.67,1.002), (2.605,0.937,2.865,1.002), (5.66,0.99,5.725,1.055), (5.66,0.99,5.73,1.055), (5.665,0.99,5.867,1.055), (5.802,0.99,5.867,1.055), (5.802,0.99,6.085,1.055), (6.02,0.99,6.085,1.055), (6.02,0.99,6.085,1.055), (6.02,0.99,6.155,1.195), (0.867,1.037,0.932,1.172), (2.982,1.06,3.05,1.195), (4.202,1.06,4.267,1.195), (5.465,1.06,5.545,1.195), (6.38,1.06,6.445,1.125), (6.38,1.06,6.445,1.125), (6.38,1.06,6.445,1.195), (6.38,1.06,6.585,1.125), (6.52,1.06,6.585,1.125), (6.52,1.06,6.585,1.125), (6.52,1.06,6.585,1.125), (6.52,1.06,6.837,1.125), (6.772,1.06,6.837,1.125), (6.772,1.06,6.975,1.125), (6.91,1.06,6.975,1.125), (6.91,1.06,6.975,1.125), (6.91,1.06,6.975,1.125), (6.91,1.06,7.142,1.125), (7.077,1.06,7.142,1.125), (7.077,1.06,7.297,1.125), (7.232,1.06,7.297,1.125), (7.232,1.06,7.297,1.125), (7.232,1.06,7.297,1.125), (7.232,1.06,7.435,1.125), (7.37,1.06,7.435,1.125), (7.37,1.06,7.435,1.125), (7.37,1.06,7.435,1.125), (7.37,1.06,7.435,1.125), (7.37,1.06,7.435,1.125), (4.71,1.065,4.845,1.13), (4.78,1.065,4.845,1.13), (4.78,1.065,4.845,1.13), (4.78,1.065,4.845,1.35), (1.3,1.075,1.365,1.35), (1.3,1.075,1.435,1.14), (1.675,1.075,1.74,1.35), (1.675,1.075,1.81,1.14), (6.227,1.095,6.305,1.23), (0.867,1.107,0.932,1.35), (5.805,1.127,5.87,1.35), (5.805,1.127,5.955,1.192), (2.982,1.13,3.047,1.35), (4.202,1.13,4.267,1.195), (4.202,1.13,4.267,1.195), (4.202,1.13,4.267,1.35), (5.465,1.13,5.53,1.35), (6.227,1.165,6.292,1.23), (6.227,1.165,6.292,1.23), (6.227,1.165,6.292,1.35), (0,1.285,7.62,1.4), (0.867,1.285,0.932,1.35), (0.867,1.285,0.932,1.35), (1.3,1.285,1.365,1.35), (1.3,1.285,1.365,1.35), (1.675,1.285,1.74,1.35), (1.675,1.285,1.74,1.35), (2.982,1.285,3.047,1.35), (2.982,1.285,3.047,1.35), (5.465,1.285,5.53,1.35), (5.465,1.285,5.53,1.35), (5.805,1.285,5.87,1.35), (5.805,1.285,5.87,1.35)])
R(router_complex1_06w, L18_0, [(0,0,7.62,0.115), (6.26,0.05,6.325,0.18), (7.51,0.05,7.575,0.402), (6.19,0.115,6.325,0.18), (7.51,0.337,7.575,0.612), (0.39,0.55,0.525,0.615), (0.46,0.55,0.59,0.615), (0.525,0.55,0.59,0.615), (0.525,0.55,0.727,0.615), (0.662,0.55,0.727,0.615), (0.662,0.55,0.727,0.615), (0.662,0.55,0.727,0.615), (0.662,0.55,0.865,0.615), (0.8,0.55,0.865,0.615), (0.8,0.55,0.985,0.615), (0.92,0.55,1.055,0.615), (0.99,0.55,1.055,0.615), (0.99,0.55,1.055,0.615), (0.99,0.55,1.192,0.615), (1.127,0.55,1.192,0.615), (1.127,0.55,1.192,0.615), (1.127,0.55,1.192,0.615), (1.127,0.55,1.192,0.962), (6.52,0.68,6.585,0.745), (6.52,0.68,6.585,0.745), (6.52,0.68,6.585,0.815), (6.52,0.68,6.837,0.745), (6.772,0.68,6.837,0.745), (6.772,0.68,6.837,0.745), (6.772,0.68,6.837,0.745), (6.772,0.68,7.112,0.745), (7.047,0.68,7.112,0.745), (7.047,0.68,7.112,0.745), (7.047,0.68,7.112,0.745), (7.047,0.68,7.28,0.745), (7.215,0.68,7.28,0.745), (7.215,0.68,7.28,0.745), (7.215,0.68,7.28,0.815), (0.99,0.69,1.055,0.825), (1.265,0.69,1.345,0.825), (1.44,0.69,1.505,0.825), (4.32,0.712,4.397,0.85), (2.647,0.715,2.727,0.85), (4.51,0.715,4.575,0.78), (4.51,0.715,4.575,0.78), (4.51,0.715,4.575,0.85), (4.51,0.715,4.857,0.78), (4.792,0.715,4.857,0.78), (4.792,0.715,4.857,0.78), (4.792,0.715,4.857,0.78), (4.792,0.715,4.995,0.78), (4.93,0.715,4.995,0.78), (4.93,0.715,5.045,0.78), (4.98,0.715,5.115,0.78), (5.05,0.715,5.27,0.78), (5.205,0.715,5.27,0.78), (5.205,0.715,5.27,0.78), (5.205,0.715,5.27,0.78), (5.205,0.715,5.407,0.78), (5.342,0.715,5.407,0.78), (5.342,0.715,5.407,0.78), (5.342,0.715,5.407,0.78), (5.342,0.715,5.575,0.78), (5.51,0.715,5.645,0.782), (5.94,0.715,6.075,0.78), (6.01,0.715,6.075,0.78), (6.01,0.715,6.075,0.78), (6.01,0.715,6.292,0.78), (6.227,0.715,6.292,0.78), (6.227,0.715,6.292,0.78), (6.227,0.715,6.292,0.78), (6.227,0.715,6.447,0.78), (6.382,0.715,6.447,0.78), (6.382,0.715,6.447,0.78), (6.382,0.715,6.447,0.78), (6.382,0.715,6.585,0.78), (7.215,0.715,7.28,0.78), (7.37,0.715,7.505,0.78), (7.37,0.715,7.435,0.78), (7.37,0.715,7.435,0.78), (7.37,0.715,7.435,1.125), (7.405,0.715,7.47,0.78), (5.545,0.717,5.61,0.782), (5.775,0.722,5.84,0.857), (1.28,0.725,1.345,0.79), (1.44,0.725,1.505,0.79), (0.305,0.75,0.44,0.815), (0.34,0.75,0.405,0.815), (0.375,0.75,0.44,0.815), (0.375,0.75,0.44,0.815), (0.375,0.75,0.577,0.815), (0.512,0.75,0.577,0.815), (0.512,0.75,0.727,0.815), (0.662,0.75,0.727,0.815), (0.662,0.75,0.727,0.815), (0.662,0.75,0.727,0.815), (0.662,0.75,0.865,0.815), (0.8,0.75,0.865,0.815), (0.8,0.75,1.055,0.815), (0.99,0.75,1.055,0.815), (0.99,0.75,1.055,0.815), (1.44,0.75,1.505,0.815), (1.44,0.75,1.505,0.815), (1.44,0.75,1.722,0.815), (1.657,0.75,1.722,0.815), (1.657,0.75,1.722,0.815), (1.657,0.75,1.722,0.815), (1.657,0.75,1.975,0.815), (1.91,0.75,2.045,0.815), (1.91,0.75,1.975,0.815), (1.91,0.75,1.975,0.815), (1.98,0.75,2.112,0.815), (2.047,0.75,2.112,0.815), (2.047,0.75,2.287,0.815), (2.222,0.75,2.287,0.815), (2.222,0.75,2.287,0.815), (2.222,0.75,2.287,0.815), (2.222,0.75,2.505,0.815), (2.44,0.75,2.575,0.815), (2.44,0.75,2.505,0.815), (2.44,0.75,2.505,0.815), (2.662,0.75,2.727,0.815), (2.845,0.75,2.98,0.815), (2.88,0.75,2.945,0.815), (2.915,0.75,3.042,0.815), (2.977,0.75,3.042,0.815), (2.977,0.75,3.18,0.815), (3.115,0.75,3.18,0.815), (3.115,0.75,3.18,0.815), (3.115,0.75,3.18,0.815), (3.115,0.75,3.317,0.815), (3.252,0.75,3.317,0.815), (3.252,0.75,3.415,0.815), (3.35,0.75,3.485,0.815), (3.42,0.75,3.485,0.815), (3.42,0.75,3.485,0.815), (3.42,0.75,3.642,0.815), (3.577,0.75,3.642,0.815), (3.577,0.75,3.642,0.815), (3.577,0.75,3.642,0.815), (3.577,0.75,3.78,0.815), (3.715,0.75,3.78,0.815), (3.715,0.75,3.945,0.815), (3.88,0.75,4.015,0.815), (4.087,0.75,4.222,0.827), (4.332,0.75,4.397,0.815), (5.775,0.757,5.84,0.822), (4.122,0.762,4.187,0.827), (5.775,0.792,5.867,0.857), (5.802,0.792,5.867,0.857), (5.802,0.792,5.867,0.917), (6.685,0.817,6.75,0.952), (5.802,0.852,5.867,0.917), (5.802,0.852,6.07,0.917), (6.005,0.852,6.07,0.917), (6.005,0.852,6.07,0.917), (6.005,0.852,6.07,0.917), (6.005,0.852,6.292,0.917), (6.227,0.852,6.292,0.917), (6.227,0.852,6.292,0.917), (6.227,0.852,6.292,0.917), (6.227,0.852,6.447,0.917), (6.382,0.852,6.447,0.917), (6.382,0.852,6.447,0.917), (6.382,0.852,6.447,0.952), (6.382,0.887,6.585,0.952), (6.52,0.887,6.585,0.952), (6.52,0.887,6.585,0.952), (6.52,0.887,6.585,0.952), (6.52,0.887,6.585,0.952), (6.52,0.887,6.585,0.952), (6.52,0.887,6.75,0.952), (4.93,0.89,4.995,1.165), (4.93,0.89,4.995,0.987), (0.662,0.897,0.727,0.962), (0.662,0.897,0.727,0.962), (0.662,0.897,0.727,1.172), (0.662,0.897,0.865,0.962), (0.8,0.897,0.865,0.962), (0.8,0.897,0.865,0.962), (0.8,0.897,0.865,0.962), (0.8,0.897,1.07,0.962), (1.005,0.897,1.07,0.962), (1.005,0.897,1.192,0.962), (1.127,0.897,1.192,0.962), (1.127,0.897,1.192,0.962), (1.127,0.897,1.192,1.172), (1.127,0.9,1.365,0.965), (1.3,0.9,1.365,0.965), (1.3,0.9,1.365,0.965), (1.3,0.9,1.365,0.965), (1.3,0.9,1.585,0.965), (1.52,0.9,1.585,0.965), (1.52,0.9,1.585,0.965), (1.52,0.9,1.585,1.175), (4.93,0.905,4.995,0.97), (2.8,0.92,2.865,1.195), (4.017,0.92,4.082,1.195), (5.66,0.92,5.73,1.195), (2.8,0.922,2.865,0.987), (2.8,0.922,2.865,0.987), (2.8,0.922,3.042,0.987), (2.977,0.922,3.042,0.987), (2.977,0.922,3.18,0.987), (3.115,0.922,3.18,0.987), (3.115,0.922,3.18,0.987), (3.115,0.922,3.18,0.987), (3.115,0.922,3.317,0.987), (3.252,0.922,3.317,0.987), (3.252,0.922,3.485,0.987), (3.42,0.922,3.485,0.987), (3.42,0.922,3.485,0.987), (3.42,0.922,3.485,0.987), (3.42,0.922,3.642,0.987), (3.577,0.922,3.642,0.987), (3.577,0.922,3.642,0.987), (3.577,0.922,3.642,0.987), (3.577,0.922,3.917,0.987), (3.852,0.922,3.917,0.987), (3.852,0.922,3.917,0.987), (3.852,0.922,3.917,0.987), (3.852,0.922,4.082,0.987), (4.017,0.922,4.082,0.987), (4.017,0.922,4.082,0.987), (4.017,0.922,4.3,0.987), (4.235,0.922,4.3,0.987), (4.235,0.922,4.3,0.987), (4.235,0.922,4.3,0.987), (4.235,0.922,4.437,0.987), (4.372,0.922,4.437,0.987), (4.372,0.922,4.437,0.987), (4.372,0.922,4.437,0.987), (4.372,0.922,4.69,0.987), (4.625,0.922,4.69,0.987), (4.625,0.922,4.827,0.987), (4.762,0.922,4.827,0.987), (4.762,0.922,4.827,0.987), (4.762,0.922,4.827,0.987), (4.762,0.922,4.995,0.987), (4.93,0.922,4.995,0.987), (4.93,0.922,4.995,0.987), (4.93,0.922,5.27,0.987), (5.205,0.922,5.27,0.987), (5.205,0.922,5.27,0.987), (5.205,0.922,5.27,0.987), (5.205,0.922,5.27,0.987), (5.205,0.922,5.27,0.987), (5.205,0.922,5.437,0.987), (5.372,0.922,5.437,0.987), (5.372,0.922,5.437,0.987), (5.372,0.922,5.437,0.987), (5.372,0.922,5.577,0.987), (5.512,0.922,5.577,0.987), (5.512,0.922,5.725,0.987), (1.52,0.937,1.722,1.002), (1.657,0.937,1.722,1.002), (1.657,0.937,1.722,1.002), (1.657,0.937,1.722,1.002), (1.657,0.937,1.947,1.002), (1.882,0.937,1.947,1.002), (1.882,0.937,1.947,1.002), (1.882,0.937,1.947,1.002), (1.882,0.937,2.112,1.002), (2.047,0.937,2.112,1.002), (2.047,0.937,2.287,1.002), (2.222,0.937,2.287,1.002), (2.222,0.937,2.287,1.002), (2.222,0.937,2.287,1.002), (2.222,0.937,2.505,1.002), (2.44,0.937,2.505,1.002), (2.44,0.937,2.505,1.002), (2.44,0.937,2.505,1.002), (2.44,0.937,2.67,1.002), (2.605,0.937,2.67,1.002), (2.605,0.937,2.67,1.002), (2.605,0.937,2.67,1.002), (2.605,0.937,2.865,1.002), (5.66,0.99,5.725,1.055), (5.66,0.99,5.73,1.055), (5.665,0.99,5.867,1.055), (5.802,0.99,5.867,1.055), (5.802,0.99,6.085,1.055), (6.02,0.99,6.085,1.055), (6.02,0.99,6.085,1.055), (6.02,0.99,6.155,1.195), (0.867,1.037,0.932,1.172), (2.982,1.06,3.05,1.195), (4.202,1.06,4.267,1.195), (5.465,1.06,5.545,1.195), (6.38,1.06,6.445,1.125), (6.38,1.06,6.445,1.125), (6.38,1.06,6.445,1.195), (6.38,1.06,6.585,1.125), (6.52,1.06,6.585,1.125), (6.52,1.06,6.585,1.125), (6.52,1.06,6.585,1.125), (6.52,1.06,6.837,1.125), (6.772,1.06,6.837,1.125), (6.772,1.06,6.975,1.125), (6.91,1.06,6.975,1.125), (6.91,1.06,6.975,1.125), (6.91,1.06,6.975,1.125), (6.91,1.06,7.142,1.125), (7.077,1.06,7.142,1.125), (7.077,1.06,7.297,1.125), (7.232,1.06,7.297,1.125), (7.232,1.06,7.297,1.125), (7.232,1.06,7.297,1.125), (7.232,1.06,7.435,1.125), (7.37,1.06,7.435,1.125), (7.37,1.06,7.435,1.125), (7.37,1.06,7.435,1.125), (7.37,1.06,7.435,1.125), (7.37,1.06,7.435,1.125), (4.71,1.065,4.845,1.13), (4.78,1.065,4.845,1.13), (4.78,1.065,4.845,1.13), (4.78,1.065,4.845,1.35), (4.93,1.065,4.995,1.13), (1.3,1.075,1.435,1.14), (1.3,1.075,1.365,1.35), (1.675,1.075,1.81,1.14), (1.675,1.075,1.74,1.35), (6.227,1.095,6.305,1.23), (0.867,1.107,0.932,1.35), (5.805,1.127,5.955,1.192), (5.805,1.127,5.87,1.35), (2.982,1.13,3.047,1.35), (4.202,1.13,4.267,1.195), (4.202,1.13,4.267,1.195), (4.202,1.13,4.267,1.35), (5.465,1.13,5.53,1.35), (6.227,1.165,6.292,1.23), (6.227,1.165,6.292,1.23), (6.227,1.165,6.292,1.35), (0,1.285,7.62,1.4), (0.867,1.285,0.932,1.35), (0.867,1.285,0.932,1.35), (1.3,1.285,1.365,1.35), (1.3,1.285,1.365,1.35), (1.675,1.285,1.74,1.35), (1.675,1.285,1.74,1.35), (2.982,1.285,3.047,1.35), (2.982,1.285,3.047,1.35), (5.465,1.285,5.53,1.35), (5.465,1.285,5.53,1.35), (5.805,1.285,5.87,1.35), (5.805,1.285,5.87,1.35)])
R(router_complex1_06w, boundary, [(0,0,7.62,1.4)])
router_complex1_06w.add(gdstk.Label('A', (1.472,0.757), layer=11, texttype=0))
router_complex1_06w.add(gdstk.Label('B', (2.695,0.782), layer=11, texttype=0))
router_complex1_06w.add(gdstk.Label('C', (7.437,0.747), layer=11, texttype=0))
router_complex1_06w.add(gdstk.Label('D', (5.577,0.75), layer=11, texttype=0))
router_complex1_06w.add(gdstk.Label('E', (2.912,0.782), layer=11, texttype=0))
router_complex1_06w.add(gdstk.Label('F', (5.807,0.79), layer=11, texttype=0))
router_complex1_06w.add(gdstk.Label('G', (0.372,0.782), layer=11, texttype=0))
router_complex1_06w.add(gdstk.Label('H', (1.312,0.757), layer=11, texttype=0))
router_complex1_06w.add(gdstk.Label('I', (7.247,0.747), layer=11, texttype=0))
router_complex1_06w.add(gdstk.Label('J', (4.365,0.782), layer=11, texttype=0))
router_complex1_06w.add(gdstk.Label('K', (4.155,0.795), layer=11, texttype=0))
router_complex1_06w.add(gdstk.Label('Y', (4.962,1.097), layer=11, texttype=0))
router_complex1_06w.add(gdstk.Label('VCC', (0,1.4), layer=11, texttype=0))
router_complex1_06w.add(gdstk.Label('GND', (0,0), layer=11, texttype=0))

lib.write_gds('ROUTER_COMPLEX1_06W.gds')
